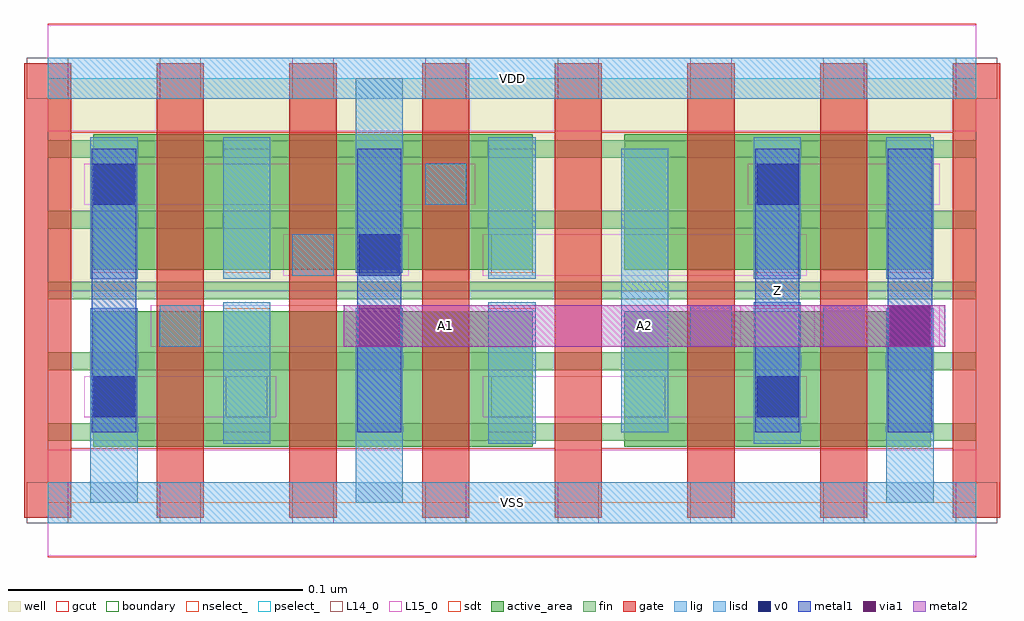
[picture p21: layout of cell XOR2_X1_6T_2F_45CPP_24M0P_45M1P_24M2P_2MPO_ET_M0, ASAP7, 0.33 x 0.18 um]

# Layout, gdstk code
import gdstk
lib = gdstk.Library(unit=1e-6, precision=2.5e-10)
def R(c, l, rs):  # rectangles x0, y0, x1, y1
    for r in rs: c.add(gdstk.rectangle(r[:2], r[2:], *l))
def A(c, l, x, y, w, h, nx, ny, dx, dy):  # array of equal rectangles
    R(c, l, [(x+i*dx, y+j*dy, x+i*dx+w, y+j*dy+h) for i in range(nx) for j in range(ny)])
well = (1, 0)
fin = (2, 0)
gate = (7, 0)
gcut = (10, 0)
active_area = (11, 0)
nselect_ = (12, 0)
pselect_ = (13, 0)
L14_0 = (14, 0)
L15_0 = (15, 0)
lig = (16, 0)
lisd = (17, 0)
v0 = (18, 0)
metal1 = (19, 0)
metal2 = (20, 0)
via1 = (21, 0)
sdt = (88, 0)
boundary = (100, 0)

xor2_x1_6t_2f_45cpp_24m0 = lib.new_cell('XOR2_X1_6T_2F_45CPP_24M0P_45M1P_24M2P_2MPO_ET_M0')
R(xor2_x1_6t_2f_45cpp_24m0, well, [(0,0.072,0.315,0.144)])
A(xor2_x1_6t_2f_45cpp_24m0, fin, 0, 0.021, 0.315, 0.006, 1, 5, 0, 0.024)
A(xor2_x1_6t_2f_45cpp_24m0, gate, -0.008, -0.005, 0.016, 0.154, 8, 1, 0.045, 0)
R(xor2_x1_6t_2f_45cpp_24m0, gcut, [(0,-0.0185,0.315,0.0185), (-0.008,-0.005,0.008,0.149), (0.172,-0.005,0.188,0.149), (0.307,-0.005,0.323,0.149), (0,0.1255,0.315,0.1625)])
A(xor2_x1_6t_2f_45cpp_24m0, active_area, 0.0155, 0.019, 0.059, 0.046, 3, 2, 0.045, 0.06)
R(xor2_x1_6t_2f_45cpp_24m0, active_area, [(0.1955,0.019,0.2545,0.065), (0.2405,0.019,0.2995,0.065), (0.1955,0.079,0.2545,0.125), (0.2405,0.079,0.2995,0.125)])
R(xor2_x1_6t_2f_45cpp_24m0, nselect_, [(0,0,0.315,0.072)])
R(xor2_x1_6t_2f_45cpp_24m0, pselect_, [(0,0.072,0.315,0.144)])
A(xor2_x1_6t_2f_45cpp_24m0, L14_0, -0.007, -0.007, 0.014, 0.014, 8, 2, 0.045, 0.144)
R(xor2_x1_6t_2f_45cpp_24m0, L14_0, [(0.0605,0.029,0.0745,0.043), (0.1505,0.029,0.1645,0.043), (0.1955,0.029,0.2095,0.043), (0.038,0.053,0.052,0.067), (0.218,0.053,0.232,0.067), (0.263,0.053,0.277,0.067), (0.083,0.077,0.097,0.091), (0.1505,0.077,0.1645,0.091), (0.2405,0.077,0.2545,0.091), (0.0155,0.101,0.0295,0.115), (0.128,0.101,0.142,0.115), (0.2855,0.101,0.2995,0.115)])
R(xor2_x1_6t_2f_45cpp_24m0, L15_0, [(0,-0.018,0.315,0.018), (0.0125,0.029,0.0775,0.043), (0.1475,0.029,0.2575,0.043), (0.035,0.053,0.235,0.067), (0.26,0.053,0.3025,0.067), (0.08,0.077,0.1225,0.091), (0.1475,0.077,0.2575,0.091), (0.0125,0.101,0.145,0.115), (0.2375,0.101,0.3025,0.115), (0,0.126,0.315,0.162)])
R(xor2_x1_6t_2f_45cpp_24m0, lig, [(0,-0.007,0.315,0.007), (0.038,0.053,0.052,0.067), (0.218,0.053,0.232,0.067), (0.263,0.053,0.277,0.067), (0.083,0.077,0.097,0.091), (0.128,0.101,0.142,0.115), (0,0.137,0.315,0.151)])
A(xor2_x1_6t_2f_45cpp_24m0, lisd, 0.0595, 0.02, 0.016, 0.048, 3, 2, 0.09, 0.056)
R(xor2_x1_6t_2f_45cpp_24m0, lisd, [(0.0145,0,0.0305,0.066), (0.1045,0,0.1205,0.066), (0.2845,0,0.3005,0.066), (0.1945,0.024,0.2105,0.12), (0.0145,0.076,0.0305,0.124), (0.2845,0.076,0.3005,0.124), (0.1045,0.078,0.1205,0.144)])
R(xor2_x1_6t_2f_45cpp_24m0, v0, [(0.0155,0.029,0.0295,0.043), (0.2405,0.029,0.2545,0.043), (0.2855,0.053,0.2995,0.067), (0.1055,0.077,0.1195,0.091), (0.0155,0.101,0.0295,0.115), (0.2405,0.101,0.2545,0.115)])
R(xor2_x1_6t_2f_45cpp_24m0, metal1, [(0.015,0.024,0.03,0.12), (0.105,0.024,0.12,0.12), (0.24,0.024,0.255,0.12), (0.285,0.024,0.3,0.12)])
R(xor2_x1_6t_2f_45cpp_24m0, metal2, [(0.1005,0.053,0.3045,0.067)])
R(xor2_x1_6t_2f_45cpp_24m0, via1, [(0.1055,0.053,0.1195,0.067), (0.2855,0.053,0.2995,0.067)])
A(xor2_x1_6t_2f_45cpp_24m0, sdt, 0.0145, 0.024, 0.016, 0.042, 4, 2, 0.045, 0.054)
R(xor2_x1_6t_2f_45cpp_24m0, sdt, [(0.1945,0.024,0.2105,0.12), (0.2395,0.024,0.2555,0.066), (0.2845,0.024,0.3005,0.066), (0.2395,0.078,0.2555,0.12), (0.2845,0.078,0.3005,0.12)])
R(xor2_x1_6t_2f_45cpp_24m0, boundary, [(0,0,0.315,0.144)])
xor2_x1_6t_2f_45cpp_24m0.add(gdstk.Label('A1', (0.135,0.06), layer=15, texttype=251))
xor2_x1_6t_2f_45cpp_24m0.add(gdstk.Label('VDD', (0.1575,0.144), layer=15, texttype=251))
xor2_x1_6t_2f_45cpp_24m0.add(gdstk.Label('VSS', (0.1575,0), layer=15, texttype=251))
xor2_x1_6t_2f_45cpp_24m0.add(gdstk.Label('VDD', (0.1575,0.144), layer=1, texttype=251))
xor2_x1_6t_2f_45cpp_24m0.add(gdstk.Label('VSS', (0.1575,0), layer=3, texttype=251))
xor2_x1_6t_2f_45cpp_24m0.add(gdstk.Label('A2', (0.2025,0.06), layer=20, texttype=251))
xor2_x1_6t_2f_45cpp_24m0.add(gdstk.Label('Z', (0.2475,0.072), layer=19, texttype=251))

lib.write_gds('XOR2_X1_6T_2F_45CPP_24M0P_45M1P_24M2P_2MPO_ET_M0.gds')
